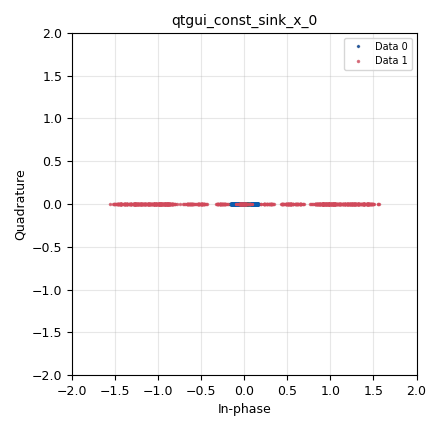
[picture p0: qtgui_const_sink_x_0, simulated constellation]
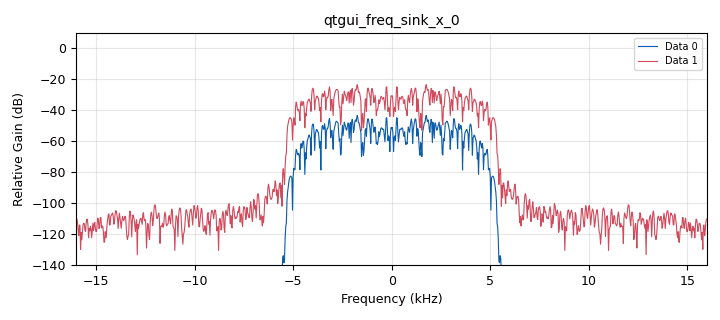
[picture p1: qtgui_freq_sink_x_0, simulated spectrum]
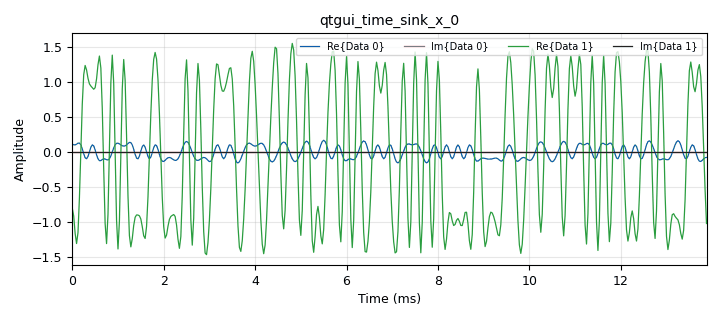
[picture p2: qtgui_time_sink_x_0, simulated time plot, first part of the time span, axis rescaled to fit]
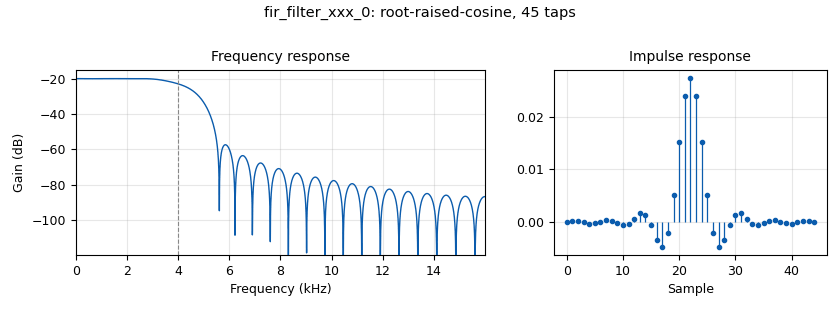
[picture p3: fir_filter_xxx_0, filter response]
options:
  parameters:
    author: Fraser O'Regan
    generate_options: qt_gui
    id: BPSK_MOD
    output_language: python
    title: BPSK Modulation Tutorial
  states: {}

blocks:
- name: bpsk
  id: variable_constellation
  parameters:
    precision: '8'
    type: bpsk
  states: {}
- name: excess_bw
  id: variable
  parameters:
    value: '0.35'
  states: {}
- name: rrc_taps
  id: variable
  parameters:
    value: firdes.root_raised_cosine(0.1,samp_rate,samp_rate/sps,excess_bw,11*sps)
  states: {}
- name: samp_rate
  id: variable
  parameters:
    value: '32000'
  states: {}
- name: sps
  id: variable
  parameters:
    value: '4'
  states: {}
- name: analog_random_source_x_0
  id: analog_random_source_x
  parameters:
    max: '256'
    min: '0'
    num_samps: '10000'
    repeat: 'True'
    type: byte
  states: {}
- name: blocks_throttle2_0
  id: blocks_throttle2
  parameters:
    samples_per_second: samp_rate
    type: complex
  states: {}
- name: digital_constellation_modulator_0
  id: digital_constellation_modulator
  parameters:
    constellation: bpsk
    differential: 'True'
    excess_bw: excess_bw
    samples_per_symbol: sps
  states: {}
- name: fir_filter_xxx_0
  id: fir_filter_xxx
  parameters:
    decim: '1'
    taps: rrc_taps
    type: ccc
  states: {}
- name: qtgui_const_sink_x_0
  id: qtgui_const_sink_x
  parameters:
    nconnections: '2'
    size: '1024'
    type: complex
  states: {}
- name: qtgui_freq_sink_x_0
  id: qtgui_freq_sink_x
  parameters:
    bw: samp_rate
    fc: '0'
    fftsize: '1024'
    nconnections: '2'
    type: complex
  states: {}
- name: qtgui_time_sink_x_0
  id: qtgui_time_sink_x
  parameters:
    nconnections: '2'
    size: '1024'
    srate: samp_rate
    type: complex
  states: {}

connections:
- [analog_random_source_x_0, '0', digital_constellation_modulator_0, '0']
- [blocks_throttle2_0, '0', fir_filter_xxx_0, '0']
- [blocks_throttle2_0, '0', qtgui_const_sink_x_0, '1']
- [blocks_throttle2_0, '0', qtgui_freq_sink_x_0, '1']
- [blocks_throttle2_0, '0', qtgui_time_sink_x_0, '1']
- [digital_constellation_modulator_0, '0', blocks_throttle2_0, '0']
- [fir_filter_xxx_0, '0', qtgui_const_sink_x_0, '0']
- [fir_filter_xxx_0, '0', qtgui_freq_sink_x_0, '0']
- [fir_filter_xxx_0, '0', qtgui_time_sink_x_0, '0']

metadata:
  file_format: 1
  grc_version: 3.10.10.0
